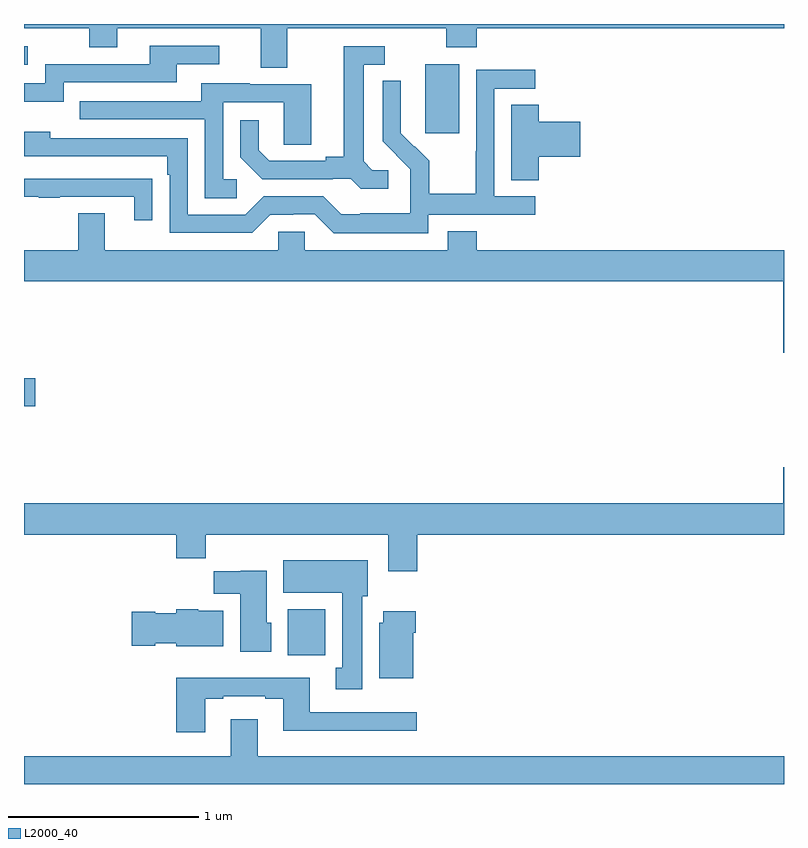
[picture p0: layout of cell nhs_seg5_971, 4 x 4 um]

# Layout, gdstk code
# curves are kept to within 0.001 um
import gdstk
lib = gdstk.Library(unit=1e-6, precision=1e-09)
def R(c, l, rs):  # rectangles x0, y0, x1, y1
    for r in rs: c.add(gdstk.rectangle(r[:2], r[2:], *l))
def P(c, l, *ps):  # polygons
    for p in ps: c.add(gdstk.Polygon(p, *l))
L2000_40 = (2000, 40)

nhs_seg5_971 = lib.new_cell('nhs_seg5_971')
R(nhs_seg5_971, L2000_40, [(174.389,837.476,174.586,837.718), (173,838.787,173.059,838.934), (175.112,840.225,175.291,840.586), (173,840.585,173.02,840.681)])
P(nhs_seg5_971, L2000_40, [(174.385,840.776),(175.222,840.776),(175.222,840.677),(175.382,840.677),(175.382,840.776),(177,840.776),(177,840.799),(173,840.799),(173,840.776),(173.344,840.776),(173.344,840.677),(173.491,840.677),(173.491,840.776),(174.245,840.776),(174.245,840.568),(174.385,840.568)],
  [(173.208,840.492),(173.803,840.492),(173.803,840.588),(174.028,840.588),(174.028,840.684),(173.663,840.684),(173.663,840.588),(173.112,840.588),(173.112,840.486),(173,840.486),(173,840.389),(173.208,840.389)],
  [(174.916,840.03),(174.834,840.03),(174.787,840.077),(174.787,840.585),(174.898,840.585),(174.898,840.681),(174.683,840.681),(174.683,840.101),(174.587,840.101),(174.587,840.078),(174.292,840.078),(174.235,840.135),(174.235,840.292),(174.138,840.292),(174.138,840.098),(174.254,839.982),(174.626,839.982),(174.626,839.985),(174.72,839.985),(174.772,839.933),(174.916,839.933)],
  [(175.128,839.796),(175.69,839.796),(175.69,839.892),(175.476,839.892),(175.476,840.459),(175.69,840.459),(175.69,840.558),(175.38,840.558),(175.38,840.128),(175.378,840.128),(175.378,839.905),(175.133,839.905),(175.133,840.079),(175.056,840.156),(175.053,840.153),(174.983,840.224),(174.984,840.5),(174.888,840.5),(174.888,840.182),(175.034,840.034),(175.034,839.937),(175.032,839.937),(175.032,839.803),(174.769,839.803),(174.769,839.799),(174.669,839.799),(174.576,839.892),(174.261,839.892),(174.165,839.796),(173.862,839.796),(173.862,840.198),(173.138,840.198),(173.138,840.232),(173,840.232),(173,840.102),(173.753,840.102),(173.753,840.005),(173.766,840.005),(173.766,839.7),(174.201,839.7),(174.297,839.796),(174.416,839.796),(174.416,839.799),(174.531,839.799),(174.631,839.699),(175.128,839.699)],
  [(174.121,839.982),(174.048,839.982),(174.048,840.387),(174.366,840.387),(174.366,840.163),(174.511,840.163),(174.511,840.483),(174.187,840.483),(174.187,840.487),(173.933,840.487),(173.933,840.393),(173.293,840.393),(173.293,840.297),(173.952,840.297),(173.952,839.881),(174.121,839.881)],
  [(175.709,840.101),(175.927,840.101),(175.927,840.284),(175.709,840.284),(175.709,840.374),(175.565,840.374),(175.565,839.977),(175.709,839.977)],
  [(173.675,839.984),(173.573,839.984),(173.573,839.985),(173,839.985),(173,839.889),(173.077,839.889),(173.077,839.884),(173.189,839.884),(173.189,839.889),(173.579,839.889),(173.579,839.766),(173.675,839.766)],
  [(177,839.608),(175.382,839.608),(175.382,839.707),(175.229,839.707),(175.229,839.608),(174.477,839.608),(174.477,839.706),(174.339,839.706),(174.339,839.608),(173.425,839.608),(173.425,839.803),(173.285,839.803),(173.285,839.608),(173,839.608),(173,839.444),(176.996,839.444),(176.996,839.07),(177,839.07)],
  [(175.07,838.112),(177,838.112),(177,838.465),(176.996,838.465),(176.996,838.276),(173,838.276),(173,838.112),(173.801,838.112),(173.801,837.988),(173.957,837.988),(173.957,838.112),(174.917,838.112),(174.917,837.918),(175.07,837.918)],
  [(174.781,837.786),(174.808,837.786),(174.808,837.976),(174.365,837.976),(174.365,837.806),(174.674,837.806),(174.674,837.41),(174.641,837.41),(174.641,837.297),(174.781,837.297)],
  [(174.301,837.648),(174.277,837.648),(174.277,837.922),(174.141,837.922),(174.141,837.918),(173.998,837.918),(173.998,837.8),(174.137,837.8),(174.137,837.494),(174.301,837.494)],
  [(174.049,837.712),(173.916,837.712),(173.916,837.718),(173.802,837.718),(173.802,837.697),(173.691,837.697),(173.691,837.705),(173.568,837.705),(173.568,837.527),(173.691,837.527),(173.691,837.539),(173.802,837.539),(173.802,837.524),(174.049,837.524)],
  [(175.048,837.596),(175.061,837.596),(175.061,837.709),(174.89,837.709),(174.89,837.648),(174.869,837.648),(174.869,837.356),(175.048,837.356)],
  [(173.953,837.249),(174.049,837.249),(174.049,837.261),(174.269,837.261),(174.269,837.249),(174.365,837.249),(174.365,837.08),(175.066,837.08),(175.066,837.177),(174.505,837.177),(174.505,837.358),(173.801,837.358),(173.801,837.072),(173.953,837.072)],
  [(177,836.944),(174.229,836.944),(174.229,837.139),(174.089,837.139),(174.089,836.944),(173,836.944),(173,836.799),(177,836.799)])

lib.write_gds('nhs_seg5_971.gds')
